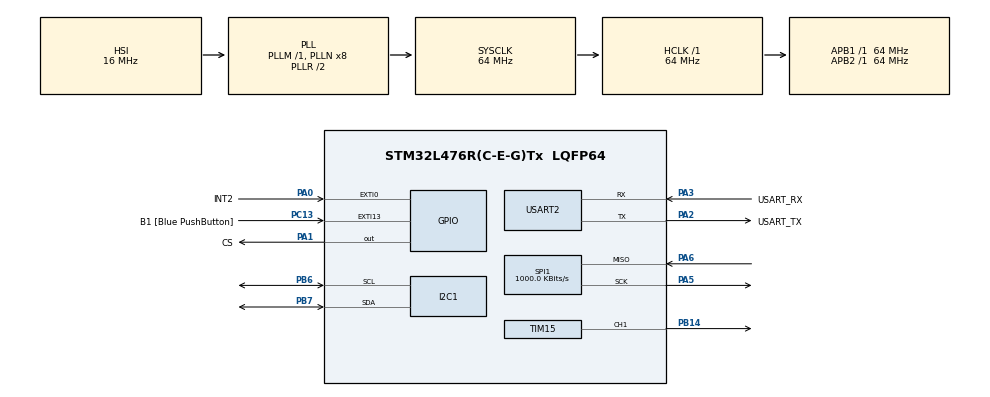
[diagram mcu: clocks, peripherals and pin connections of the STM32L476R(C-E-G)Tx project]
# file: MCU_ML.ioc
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Dma.Request0=SPI1_RX
Dma.Request1=USART2_TX
Dma.SPI1_RX.0.Direction=DMA_PERIPH_TO_MEMORY
Dma.SPI1_RX.0.Instance=DMA1_Channel2
Dma.SPI1_RX.0.MemDataAlignment=DMA_MDATAALIGN_HALFWORD
Dma.SPI1_RX.0.MemInc=DMA_MINC_ENABLE
Dma.SPI1_RX.0.Mode=DMA_NORMAL
Dma.SPI1_RX.0.PeriphDataAlignment=DMA_PDATAALIGN_HALFWORD
Dma.SPI1_RX.0.PeriphInc=DMA_PINC_DISABLE
Dma.SPI1_RX.0.Priority=DMA_PRIORITY_LOW
Dma.USART2_TX.1.Direction=DMA_MEMORY_TO_PERIPH
Dma.USART2_TX.1.Instance=DMA1_Channel7
Dma.USART2_TX.1.MemDataAlignment=DMA_MDATAALIGN_BYTE
Dma.USART2_TX.1.MemInc=DMA_MINC_ENABLE
Dma.USART2_TX.1.Mode=DMA_NORMAL
Dma.USART2_TX.1.PeriphDataAlignment=DMA_PDATAALIGN_BYTE
Dma.USART2_TX.1.PeriphInc=DMA_PINC_DISABLE
Dma.USART2_TX.1.Priority=DMA_PRIORITY_LOW
I2C1.Timing=0x10B17DB5
Mcu.Family=STM32L4
Mcu.Name=STM32L476R(C-E-G)Tx
Mcu.Package=LQFP64
NVIC.DMA1_Channel2_IRQn=true\:0\:0\:false\:false\:true\:false\:true\:true
NVIC.DMA1_Channel7_IRQn=true\:0\:0\:false\:false\:true\:false\:true\:true
NVIC.EXTI0_IRQn=true\:0\:0\:false\:false\:true\:true\:true\:true
NVIC.PriorityGroup=NVIC_PRIORITYGROUP_4
NVIC.SPI1_IRQn=true\:0\:0\:false\:false\:true\:true\:true\:true
NVIC.USART2_IRQn=true\:0\:0\:false\:false\:true\:true\:true\:true
PA0.GPIO_Label=INT2
PA0.Signal=GPXTI0
PA1.GPIO_Label=CS
PA1.Signal=GPIO_Output
PA13\ (JTMS-SWDIO).GPIO_Label=TMS
PA13\ (JTMS-SWDIO).Mode=Serial_Wire
PA13\ (JTMS-SWDIO).Signal=SYS_JTMS-SWDIO
PA14\ (JTCK-SWCLK).GPIO_Label=TCK
PA14\ (JTCK-SWCLK).Mode=Serial_Wire
PA14\ (JTCK-SWCLK).Signal=SYS_JTCK-SWCLK
PA2.GPIO_Label=USART_TX
PA2.GPIO_Mode=GPIO_MODE_AF_PP
PA2.GPIO_PuPd=GPIO_NOPULL
PA2.GPIO_Speed=GPIO_SPEED_FREQ_VERY_HIGH
PA2.Mode=Asynchronous
PA2.Signal=USART2_TX
PA3.GPIO_Label=USART_RX
PA3.GPIO_Mode=GPIO_MODE_AF_PP
PA3.GPIO_PuPd=GPIO_NOPULL
PA3.GPIO_Speed=GPIO_SPEED_FREQ_VERY_HIGH
PA3.Mode=Asynchronous
PA3.Signal=USART2_RX
PA5.Mode=RX_Only_Simplex_Unidirect_Master
PA5.Signal=SPI1_SCK
PA6.Mode=RX_Only_Simplex_Unidirect_Master
PA6.Signal=SPI1_MISO
PB14.Signal=S_TIM15_CH1
PB3\ (JTDO-TRACESWO).GPIO_Label=SWO
PB3\ (JTDO-TRACESWO).Signal=SYS_JTDO-SWO
PB6.Mode=I2C
PB6.Signal=I2C1_SCL
PB7.Mode=I2C
PB7.Signal=I2C1_SDA
PC13.GPIO_Label=B1 [Blue PushButton]
PC13.GPIO_ModeDefaultEXTI=GPIO_MODE_IT_FALLING
PC13.GPIO_PuPd=GPIO_NOPULL
PC13.Signal=GPXTI13
PC14-OSC32_IN\ (PC14).Mode=LSE-External-Oscillator
PC14-OSC32_IN\ (PC14).Signal=RCC_OSC32_IN
PC15-OSC32_OUT\ (PC15).Mode=LSE-External-Oscillator
PC15-OSC32_OUT\ (PC15).Signal=RCC_OSC32_OUT
PH0-OSC_IN\ (PH0).Signal=RCC_OSC_IN
PH1-OSC_OUT\ (PH1).Signal=RCC_OSC_OUT
ProjectManager.HeapSize=0x800
ProjectManager.StackSize=0x800
ProjectManager.TargetToolchain=STM32CubeIDE
RCC.ADCFreq_Value=64000000
RCC.AHBFreq_Value=64000000
RCC.APB1Freq_Value=64000000
RCC.APB1TimFreq_Value=64000000
RCC.APB2Freq_Value=64000000
RCC.APB2TimFreq_Value=64000000
RCC.CortexFreq_Value=64000000
RCC.HCLKFreq_Value=64000000
RCC.HSE_VALUE=8000000
RCC.HSI_VALUE=16000000
RCC.MSI_VALUE=4000000
RCC.PLLSourceVirtual=RCC_PLLSOURCE_HSI
RCC.PREFETCH_ENABLE=1
RCC.SYSCLKFreq_VALUE=64000000
RCC.SYSCLKSource=RCC_SYSCLKSOURCE_PLLCLK
RCC.USBFreq_Value=64000000
RCC.VCOOutputFreq_Value=128000000
SH.S_TIM15_CH1.0=TIM15_CH1,PWM Generation1 CH1
SPI1.BaudRatePrescaler=SPI_BAUDRATEPRESCALER_64
SPI1.CLKPhase=SPI_PHASE_1EDGE
SPI1.CLKPolarity=SPI_POLARITY_HIGH
SPI1.CalculateBaudRate=1000.0 KBits/s
SPI1.DataSize=SPI_DATASIZE_16BIT
SPI1.Direction=SPI_DIRECTION_2LINES_RXONLY
SPI1.FirstBit=SPI_FIRSTBIT_LSB
SPI1.Mode=SPI_MODE_MASTER
SPI1.VirtualType=VM_MASTER
STMicroelectronics.X-CUBE-AI.10.2.0.ActivationBufferSizeList=4368
STMicroelectronics.X-CUBE-AI.10.2.0.ActivationBuffers=pool0
STMicroelectronics.X-CUBE-AI.10.2.0.ActivationNames=pool0
STMicroelectronics.X-CUBE-AI.10.2.0.ActivationSizes=AI_NETWORK_DATA_ACTIVATION_1_SIZE
STMicroelectronics.X-CUBE-AI.10.2.0.ApplicationCcDeviceJjApplication=SystemPerformance
STMicroelectronics.X-CUBE-AI.10.2.0.BSP.number=1
STMicroelectronics.X-CUBE-AI.10.2.0.HeapSize=0x800
STMicroelectronics.X-CUBE-AI.10.2.0.InternalRamActivationBufferMaxSize=AI_NETWORK_DATA_ACTIVATIONS_SIZE
STMicroelectronics.X-CUBE-AI.10.2.0.LatestDirectoryUsed-ef7b917f1262b7114e091f9efaad28ba48847193b124a9248ebb9550d7188a26=C\:\\Users\\User\\Downloads
STMicroelectronics.X-CUBE-AI.10.2.0.MaximumNumberOfInputLayer=1
STMicroelectronics.X-CUBE-AI.10.2.0.MaximumNumberOfOutputLayer=1
STMicroelectronics.X-CUBE-AI.10.2.0.MaximumSizeOfInputLayer=1
STMicroelectronics.X-CUBE-AI.10.2.0.MaximumSizeOfOutputLayer=1
STMicroelectronics.X-CUBE-AI.10.2.0.ModelActualCompression-ef7b917f1262b7114e091f9efaad28ba48847193b124a9248ebb9550d7188a26=0.0
STMicroelectronics.X-CUBE-AI.10.2.0.ModelCompression-ef7b917f1262b7114e091f9efaad28ba48847193b124a9248ebb9550d7188a26=None
STMicroelectronics.X-CUBE-AI.10.2.0.ModelFlashOccupation-ef7b917f1262b7114e091f9efaad28ba48847193b124a9248ebb9550d7188a26=144780
STMicroelectronics.X-CUBE-AI.10.2.0.ModelHashList=ef7b917f1262b7114e091f9efaad28ba48847193b124a9248ebb9550d7188a26
STMicroelectronics.X-CUBE-AI.10.2.0.ModelKind-ef7b917f1262b7114e091f9efaad28ba48847193b124a9248ebb9550d7188a26=TFLITE
STMicroelectronics.X-CUBE-AI.10.2.0.ModelMacc-ef7b917f1262b7114e091f9efaad28ba48847193b124a9248ebb9550d7188a26=34160
STMicroelectronics.X-CUBE-AI.10.2.0.ModelName-ef7b917f1262b7114e091f9efaad28ba48847193b124a9248ebb9550d7188a26=network
STMicroelectronics.X-CUBE-AI.10.2.0.ModelNameList=network
STMicroelectronics.X-CUBE-AI.10.2.0.ModelRamOccupation-ef7b917f1262b7114e091f9efaad28ba48847193b124a9248ebb9550d7188a26=4368
STMicroelectronics.X-CUBE-AI.10.2.0.ModelStructureFile-ef7b917f1262b7114e091f9efaad28ba48847193b124a9248ebb9550d7188a26=C\:\\Users\\User\\Downloads\\fan_model (10).tflite
STMicroelectronics.X-CUBE-AI.10.2.0.ModelType-ef7b917f1262b7114e091f9efaad28ba48847193b124a9248ebb9550d7188a26=STM32Cube.AI MCU runtime
STMicroelectronics.X-CUBE-AI.10.2.0.ReadyForCodeGeneration=true
STMicroelectronics.X-CUBE-AI.10.2.0.StackSize=0x800
STMicroelectronics.X-CUBE-AI.10.2.0.WorkingBufferStartAddrList=0xFFFFFFFF
STMicroelectronics.X-CUBE-AI.10.2.0.XAaCUBEAaAICcArtificialOoIntelligenceJjCore=true
STMicroelectronics.X-CUBE-AI.10.2.0.copyWeightToRam=false
STMicroelectronics.X-CUBE-AI.10.2.0.copyWeightToRam-ef7b917f1262b7114e091f9efaad28ba48847193b124a9248ebb9550d7188a26=false
STMicroelectronics.X-CUBE-AI.10.2.0.customLayerConfigEnabled=false
STMicroelectronics.X-CUBE-AI.10.2.0.customLayerConfigEnabled-ef7b917f1262b7114e091f9efaad28ba48847193b124a9248ebb9550d7188a26=false
STMicroelectronics.X-CUBE-AI.10.2.0.noOnnxIoTranspose=false
STMicroelectronics.X-CUBE-AI.10.2.0.noOnnxIoTranspose-ef7b917f1262b7114e091f9efaad28ba48847193b124a9248ebb9550d7188a26=false
STMicroelectronics.X-CUBE-AI.10.2.0.useInputAllocation=true
STMicroelectronics.X-CUBE-AI.10.2.0.useInputAllocation-ef7b917f1262b7114e091f9efaad28ba48847193b124a9248ebb9550d7188a26=true
STMicroelectronics.X-CUBE-AI.10.2.0.useOutputAllocation=true
STMicroelectronics.X-CUBE-AI.10.2.0.useOutputAllocation-ef7b917f1262b7114e091f9efaad28ba48847193b124a9248ebb9550d7188a26=true
STMicroelectronics.X-CUBE-AI.10.2.00.BSP.STBoard=false
STMicroelectronics.X-CUBE-AI.10.2.00.BSP.api=Unknown
STMicroelectronics.X-CUBE-AI.10.2.00.BSP.condition=\!SEMDeviceJjApplicationJjApplicationTemplate
STMicroelectronics.X-CUBE-AI.10.2.00.BSP.instance=USART2
STMicroelectronics.X-CUBE-AI.10.2.00.BSP.ip=USART
STMicroelectronics.X-CUBE-AI.10.2.00.BSP.mode=Asynchronous
STMicroelectronics.X-CUBE-AI.10.2.00.BSP.name=COM Port
STMicroelectronics.X-CUBE-AI.10.2.00.BSP.solution=USART2
TIM15.Channel-PWM\ Generation1\ CH1=TIM_CHANNEL_1
TIM15.Period=63
TIM15.Pulse-PWM\ Generation1\ CH1=32
USART2.VirtualMode-Asynchronous=VM_ASYNC
VP_CRC_VS_CRC.Mode=CRC_Activate
VP_STMicroelectronics.X-CUBE-AI_VS_ArtificialOoIntelligenceJjXAaCUBEAaAI_10.2.0.Mode=ArtificialOoIntelligenceJjXAaCUBEAaAI
VP_STMicroelectronics.X-CUBE-AI_VS_DeviceJjApplication_10.2.0.Mode=DeviceJjApplication
VP_TIM15_VS_ClockSourceINT.Mode=Internal
board=NUCLEO-L476RG

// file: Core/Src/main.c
/* USER CODE BEGIN Header */
/**
  ******************************************************************************
  * @file           : main.c
  * @brief          : Main program body
  ******************************************************************************
  * @attention
  *
  * Copyright (c) 2026 STMicroelectronics.
  * All rights reserved.
  *
  * This software is licensed under terms that can be found in the LICENSE file
  * in the root directory of this software component.
  * If no LICENSE file comes with this software, it is provided AS-IS.
  *
  ******************************************************************************
  */
/* USER CODE END Header */
#include "main.h"

/* USER CODE BEGIN Includes */
#include "arm_math.h"
#include <stdint.h>
#include <stdbool.h>
#include <stdio.h>
#include "network.h"
#include "network_data.h"
/* USER CODE END Includes */

/* USER CODE BEGIN PM */
// 1602 I2C address
#define I2C_ADDR 0x27 // I2C address of the PCF8574
// 1602 dimensions
#define LCD_ROWS 2 // Number of rows on the LCD
#define LCD_COLS 16 // Number of columns on the LCD
// 1602 message bit numbers
#define DC_BIT 0 // Data/Command bit (register select bit)
#define EN_BIT 2 // Enable bit
#define BL_BIT 3 // Backlight bit
#define D4_BIT 4 // Data 4 bit
#define D5_BIT 5 // Data 5 bit
#define D6_BIT 6 // Data 6 bit
#define D7_BIT 7 // Data 7 bit
/* USER CODE END PM */

CRC_HandleTypeDef hcrc;

I2C_HandleTypeDef hi2c1;

SPI_HandleTypeDef hspi1;
DMA_HandleTypeDef hdma_spi1_rx;

TIM_HandleTypeDef htim15;

UART_HandleTypeDef huart2;
DMA_HandleTypeDef hdma_usart2_tx;

/* USER CODE BEGIN PV */
ai_u8 activations[AI_NETWORK_DATA_ACTIVATIONS_SIZE];
ai_handle network;
ai_buffer ai_input[AI_NETWORK_IN_NUM];
ai_buffer ai_output[AI_NETWORK_OUT_NUM];
float most_likely;
int status;
//arm_cfft_instance_q31 fft_instance;
q15_t fft_buffer[2048];
q15_t magnitude_buffer[1024];
volatile bool window_ready = false;
uint8_t sync_header[2];
uint8_t sync_footer[2];
float ai_data[512];
float ai_outputs[3];
extern const arm_cfft_instance_q15 arm_cfft_sR_q15_len1024;
char confidence[16];
/* USER CODE END PV */

void SystemClock_Config(void);
static void MX_GPIO_Init(void);
static void MX_DMA_Init(void);
static void MX_USART2_UART_Init(void);
static void MX_SPI1_Init(void);
static void MX_I2C1_Init(void);
static void MX_TIM15_Init(void);
static void MX_CRC_Init(void);
/* USER CODE BEGIN PFP */
void CharLCD_Write_Nibble (uint8_t nibble, uint8_t dc);
void CharLCD_Send_Cmd(uint8_t cmd);
void CharLCD_Send_Data(uint8_t data);
void CharLCD_Init();
void CharLCD_Write_String(char *str);
void CharLCD_Set_Cursor(uint8_t row, uint8_t column);
void CharLCD_Clear(void);
/* USER CODE END PFP */

int main(void)
{

  /* MCU Configuration--------------------------------------------------------*/

  /* Reset of all peripherals, Initializes the Flash interface and the Systick. */
  HAL_Init();

  /* Configure the system clock */
  SystemClock_Config();

  /* Initialize all configured peripherals */
  MX_GPIO_Init();
  MX_DMA_Init();
  MX_USART2_UART_Init();
  MX_SPI1_Init();
  MX_I2C1_Init();
  MX_TIM15_Init();
  MX_CRC_Init();
  /* USER CODE BEGIN 2 */
  HAL_GPIO_WritePin(GPIOA, GPIO_PIN_1, 1);
  window_ready = false;
  sync_header[0] = 0xAA;
  sync_header[1] = 0xBB;
  sync_footer[0] = 0xCC;
  sync_footer[1] = 0xDD;
  HAL_TIM_PWM_Start(&htim15, TIM_CHANNEL_1);
  CharLCD_Init(); // Initialize the LCD

  ai_network_create(&network, AI_NETWORK_DATA_CONFIG);
  ai_network_params params = AI_NETWORK_PARAMS_INIT(
        AI_NETWORK_DATA_WEIGHTS(ai_network_data_weights_get()),
        AI_NETWORK_DATA_ACTIVATIONS(activations)
    );
  ai_network_init(network, &params);
  ai_input[0] = ai_network_inputs_get(network, NULL)[0];
    ai_output[0] = ai_network_outputs_get(network, NULL)[0];

    ai_input[0].data = AI_HANDLE_PTR(ai_data);
    ai_output[0].data = AI_HANDLE_PTR(ai_outputs);
  /* USER CODE END 2 */

  /* Infinite loop */
  while (1)
  {

    /* USER CODE BEGIN 3 */

	  /*
	   * if (transfer_done)
	   * 	start_fft
	   *	get_magnitudes
	   *	NON-BLOCKING UART DMA
	   * 	(later) get inference
	   *
	   *
	   * */
	  if(window_ready){ // runs after SPI transaction finished
		  arm_cfft_q15(&arm_cfft_sR_q15_len1024, fft_buffer, 0, 1); // Compute FFT
		  arm_cmplx_mag_q15(fft_buffer, magnitude_buffer, 1024); // Compute Complex Mag
		  HAL_UART_Transmit(&huart2, sync_header, 2, 100);
		  HAL_UART_Transmit_DMA(&huart2, (uint8_t*)magnitude_buffer, 1024); // send the data over UART
		  for(int i=0; i<512; i++){
			  ai_data[i]=(float)magnitude_buffer[i]; // Convert ints to floats for AI stuff
		  }
		  ai_network_run(network, &ai_input[0], &ai_output[0]); // make an AI infrence
		  most_likely = -1;
		  status = -1;
		  for(int i = 0; i<3; i++){ // find what state is most likely
			  if(ai_outputs[i] > most_likely) {
				  most_likely = ai_outputs[i];
				  status = i;
			  }
		  }
		  //create a string of the confidence value
		  snprintf(confidence, sizeof(confidence), "Conf: %.1f%%", (100.0f*most_likely));
		  CharLCD_Clear(); // clear the LCD
		  switch(status){
		  case 0:
		   CharLCD_Set_Cursor(0,0); // Set cursor to row 0, column 0
		   CharLCD_Write_String("Fan OFF");
		   CharLCD_Set_Cursor(1,0); // Set cursor to row 1, column 0
		   CharLCD_Write_String(confidence);
			  break;
		  case 1:
			   CharLCD_Set_Cursor(0,0); // Set cursor to row 0, column 0
			   CharLCD_Write_String("Fan BALANCED");
			   CharLCD_Set_Cursor(1,0); // Set cursor to row 1, column 0
			   CharLCD_Write_String(confidence);
			  break;
		  case 2:
			   CharLCD_Set_Cursor(0,0); // Set cursor to row 0, column 0
			   CharLCD_Write_String("Fan UNBALANCED");
			   CharLCD_Set_Cursor(1,0); // Set cursor to row 1, column 0
			   CharLCD_Write_String(confidence);
			  break;
		  default:
			   CharLCD_Set_Cursor(0,0); // Set cursor to row 0, column 0
			   CharLCD_Write_String("ERROR!!");
			   CharLCD_Set_Cursor(1,0); // Set cursor to row 1, column 0
			   CharLCD_Write_String(confidence);
			  break;
		  }
		  window_ready = false; // Set window_ready to false and wait for next packet
	  }
  }
  /* USER CODE END 3 */
}

void SystemClock_Config(void)
{
  RCC_OscInitTypeDef RCC_OscInitStruct = {0};
  RCC_ClkInitTypeDef RCC_ClkInitStruct = {0};

  /** Configure the main internal regulator output voltage
  */
  if (HAL_PWREx_ControlVoltageScaling(PWR_REGULATOR_VOLTAGE_SCALE1) != HAL_OK)
  {
    Error_Handler();
  }

  /** Initializes the RCC Oscillators according to the specified parameters
  * in the RCC_OscInitTypeDef structure.
  */
  RCC_OscInitStruct.OscillatorType = RCC_OSCILLATORTYPE_HSI;
  RCC_OscInitStruct.HSIState = RCC_HSI_ON;
  RCC_OscInitStruct.HSICalibrationValue = RCC_HSICALIBRATION_DEFAULT;
  RCC_OscInitStruct.PLL.PLLState = RCC_PLL_ON;
  RCC_OscInitStruct.PLL.PLLSource = RCC_PLLSOURCE_HSI;
  RCC_OscInitStruct.PLL.PLLM = 1;
  RCC_OscInitStruct.PLL.PLLN = 8;
  RCC_OscInitStruct.PLL.PLLP = RCC_PLLP_DIV7;
  RCC_OscInitStruct.PLL.PLLQ = RCC_PLLQ_DIV2;
  RCC_OscInitStruct.PLL.PLLR = RCC_PLLR_DIV2;
  if (HAL_RCC_OscConfig(&RCC_OscInitStruct) != HAL_OK)
  {
    Error_Handler();
  }

  /** Initializes the CPU, AHB and APB buses clocks
  */
  RCC_ClkInitStruct.ClockType = RCC_CLOCKTYPE_HCLK|RCC_CLOCKTYPE_SYSCLK
                              |RCC_CLOCKTYPE_PCLK1|RCC_CLOCKTYPE_PCLK2;
  RCC_ClkInitStruct.SYSCLKSource = RCC_SYSCLKSOURCE_PLLCLK;
  RCC_ClkInitStruct.AHBCLKDivider = RCC_SYSCLK_DIV1;
  RCC_ClkInitStruct.APB1CLKDivider = RCC_HCLK_DIV1;
  RCC_ClkInitStruct.APB2CLKDivider = RCC_HCLK_DIV1;

  if (HAL_RCC_ClockConfig(&RCC_ClkInitStruct, FLASH_LATENCY_3) != HAL_OK)
  {
    Error_Handler();
  }
}

static void MX_CRC_Init(void)
{

  hcrc.Instance = CRC;
  hcrc.Init.DefaultPolynomialUse = DEFAULT_POLYNOMIAL_ENABLE;
  hcrc.Init.DefaultInitValueUse = DEFAULT_INIT_VALUE_ENABLE;
  hcrc.Init.InputDataInversionMode = CRC_INPUTDATA_INVERSION_NONE;
  hcrc.Init.OutputDataInversionMode = CRC_OUTPUTDATA_INVERSION_DISABLE;
  hcrc.InputDataFormat = CRC_INPUTDATA_FORMAT_BYTES;
  if (HAL_CRC_Init(&hcrc) != HAL_OK)
  {
    Error_Handler();
  }

}

static void MX_I2C1_Init(void)
{

  hi2c1.Instance = I2C1;
  hi2c1.Init.Timing = 0x10B17DB5;
  hi2c1.Init.OwnAddress1 = 0;
  hi2c1.Init.AddressingMode = I2C_ADDRESSINGMODE_7BIT;
  hi2c1.Init.DualAddressMode = I2C_DUALADDRESS_DISABLE;
  hi2c1.Init.OwnAddress2 = 0;
  hi2c1.Init.OwnAddress2Masks = I2C_OA2_NOMASK;
  hi2c1.Init.GeneralCallMode = I2C_GENERALCALL_DISABLE;
  hi2c1.Init.NoStretchMode = I2C_NOSTRETCH_DISABLE;
  if (HAL_I2C_Init(&hi2c1) != HAL_OK)
  {
    Error_Handler();
  }

  /** Configure Analogue filter
  */
  if (HAL_I2CEx_ConfigAnalogFilter(&hi2c1, I2C_ANALOGFILTER_ENABLE) != HAL_OK)
  {
    Error_Handler();
  }

  /** Configure Digital filter
  */
  if (HAL_I2CEx_ConfigDigitalFilter(&hi2c1, 0) != HAL_OK)
  {
    Error_Handler();
  }

}

static void MX_SPI1_Init(void)
{

  /* SPI1 parameter configuration*/
  hspi1.Instance = SPI1;
  hspi1.Init.Mode = SPI_MODE_MASTER;
  hspi1.Init.Direction = SPI_DIRECTION_2LINES_RXONLY;
  hspi1.Init.DataSize = SPI_DATASIZE_16BIT;
  hspi1.Init.CLKPolarity = SPI_POLARITY_HIGH;
  hspi1.Init.CLKPhase = SPI_PHASE_1EDGE;
  hspi1.Init.NSS = SPI_NSS_SOFT;
  hspi1.Init.BaudRatePrescaler = SPI_BAUDRATEPRESCALER_64;
  hspi1.Init.FirstBit = SPI_FIRSTBIT_LSB;
  hspi1.Init.TIMode = SPI_TIMODE_DISABLE;
  hspi1.Init.CRCCalculation = SPI_CRCCALCULATION_DISABLE;
  hspi1.Init.CRCPolynomial = 7;
  hspi1.Init.CRCLength = SPI_CRC_LENGTH_DATASIZE;
  hspi1.Init.NSSPMode = SPI_NSS_PULSE_ENABLE;
  if (HAL_SPI_Init(&hspi1) != HAL_OK)
  {
    Error_Handler();
  }

}

static void MX_TIM15_Init(void)
{

  TIM_ClockConfigTypeDef sClockSourceConfig = {0};
  TIM_MasterConfigTypeDef sMasterConfig = {0};
  TIM_OC_InitTypeDef sConfigOC = {0};
  TIM_BreakDeadTimeConfigTypeDef sBreakDeadTimeConfig = {0};

  htim15.Instance = TIM15;
  htim15.Init.Prescaler = 0;
  htim15.Init.CounterMode = TIM_COUNTERMODE_UP;
  htim15.Init.Period = 63;
  htim15.Init.ClockDivision = TIM_CLOCKDIVISION_DIV1;
  htim15.Init.RepetitionCounter = 0;
  htim15.Init.AutoReloadPreload = TIM_AUTORELOAD_PRELOAD_DISABLE;
  if (HAL_TIM_Base_Init(&htim15) != HAL_OK)
  {
    Error_Handler();
  }
  sClockSourceConfig.ClockSource = TIM_CLOCKSOURCE_INTERNAL;
  if (HAL_TIM_ConfigClockSource(&htim15, &sClockSourceConfig) != HAL_OK)
  {
    Error_Handler();
  }
  if (HAL_TIM_PWM_Init(&htim15) != HAL_OK)
  {
    Error_Handler();
  }
  sMasterConfig.MasterOutputTrigger = TIM_TRGO_RESET;
  sMasterConfig.MasterSlaveMode = TIM_MASTERSLAVEMODE_DISABLE;
  if (HAL_TIMEx_MasterConfigSynchronization(&htim15, &sMasterConfig) != HAL_OK)
  {
    Error_Handler();
  }
  sConfigOC.OCMode = TIM_OCMODE_PWM1;
  sConfigOC.Pulse = 32;
  sConfigOC.OCPolarity = TIM_OCPOLARITY_HIGH;
  sConfigOC.OCNPolarity = TIM_OCNPOLARITY_HIGH;
  sConfigOC.OCFastMode = TIM_OCFAST_DISABLE;
  sConfigOC.OCIdleState = TIM_OCIDLESTATE_RESET;
  sConfigOC.OCNIdleState = TIM_OCNIDLESTATE_RESET;
  if (HAL_TIM_PWM_ConfigChannel(&htim15, &sConfigOC, TIM_CHANNEL_1) != HAL_OK)
  {
    Error_Handler();
  }
  sBreakDeadTimeConfig.OffStateRunMode = TIM_OSSR_DISABLE;
  sBreakDeadTimeConfig.OffStateIDLEMode = TIM_OSSI_DISABLE;
  sBreakDeadTimeConfig.LockLevel = TIM_LOCKLEVEL_OFF;
  sBreakDeadTimeConfig.DeadTime = 0;
  sBreakDeadTimeConfig.BreakState = TIM_BREAK_DISABLE;
  sBreakDeadTimeConfig.BreakPolarity = TIM_BREAKPOLARITY_HIGH;
  sBreakDeadTimeConfig.AutomaticOutput = TIM_AUTOMATICOUTPUT_DISABLE;
  if (HAL_TIMEx_ConfigBreakDeadTime(&htim15, &sBreakDeadTimeConfig) != HAL_OK)
  {
    Error_Handler();
  }
  HAL_TIM_MspPostInit(&htim15);

}

static void MX_USART2_UART_Init(void)
{

  huart2.Instance = USART2;
  huart2.Init.BaudRate = 115200;
  huart2.Init.WordLength = UART_WORDLENGTH_8B;
  huart2.Init.StopBits = UART_STOPBITS_1;
  huart2.Init.Parity = UART_PARITY_NONE;
  huart2.Init.Mode = UART_MODE_TX_RX;
  huart2.Init.HwFlowCtl = UART_HWCONTROL_NONE;
  huart2.Init.OverSampling = UART_OVERSAMPLING_16;
  huart2.Init.OneBitSampling = UART_ONE_BIT_SAMPLE_DISABLE;
  huart2.AdvancedInit.AdvFeatureInit = UART_ADVFEATURE_NO_INIT;
  if (HAL_UART_Init(&huart2) != HAL_OK)
  {
    Error_Handler();
  }

}

static void MX_DMA_Init(void)
{

  /* DMA controller clock enable */
  __HAL_RCC_DMA1_CLK_ENABLE();

  /* DMA interrupt init */
  /* DMA1_Channel2_IRQn interrupt configuration */
  HAL_NVIC_SetPriority(DMA1_Channel2_IRQn, 0, 0);
  HAL_NVIC_EnableIRQ(DMA1_Channel2_IRQn);
  /* DMA1_Channel7_IRQn interrupt configuration */
  HAL_NVIC_SetPriority(DMA1_Channel7_IRQn, 0, 0);
  HAL_NVIC_EnableIRQ(DMA1_Channel7_IRQn);

}

static void MX_GPIO_Init(void)
{
  GPIO_InitTypeDef GPIO_InitStruct = {0};

  /* GPIO Ports Clock Enable */
  __HAL_RCC_GPIOC_CLK_ENABLE();
  __HAL_RCC_GPIOH_CLK_ENABLE();
  __HAL_RCC_GPIOA_CLK_ENABLE();
  __HAL_RCC_GPIOB_CLK_ENABLE();

  /*Configure GPIO pin Output Level */
  HAL_GPIO_WritePin(CS_GPIO_Port, CS_Pin, GPIO_PIN_RESET);

  /*Configure GPIO pin : B1_Pin */
  GPIO_InitStruct.Pin = B1_Pin;
  GPIO_InitStruct.Mode = GPIO_MODE_IT_FALLING;
  GPIO_InitStruct.Pull = GPIO_NOPULL;
  HAL_GPIO_Init(B1_GPIO_Port, &GPIO_InitStruct);

  /*Configure GPIO pin : INT2_Pin */
  GPIO_InitStruct.Pin = INT2_Pin;
  GPIO_InitStruct.Mode = GPIO_MODE_IT_RISING;
  GPIO_InitStruct.Pull = GPIO_NOPULL;
  HAL_GPIO_Init(INT2_GPIO_Port, &GPIO_InitStruct);

  /*Configure GPIO pin : CS_Pin */
  GPIO_InitStruct.Pin = CS_Pin;
  GPIO_InitStruct.Mode = GPIO_MODE_OUTPUT_PP;
  GPIO_InitStruct.Pull = GPIO_NOPULL;
  GPIO_InitStruct.Speed = GPIO_SPEED_FREQ_LOW;
  HAL_GPIO_Init(CS_GPIO_Port, &GPIO_InitStruct);

  /* EXTI interrupt init*/
  HAL_NVIC_SetPriority(EXTI0_IRQn, 0, 0);
  HAL_NVIC_EnableIRQ(EXTI0_IRQn);

}

/* USER CODE BEGIN 4 */
void HAL_UART_TxCpltCallback(UART_HandleTypeDef *huart)
{
  /* Check if this callback was triggered by the specific UART we care about */
  if (huart->Instance == USART2)
  {
	  HAL_UART_Transmit(&huart2, sync_footer, 2, 100);
  }
}

void HAL_GPIO_EXTI_Callback(uint16_t GPIO_Pin)
{
    if(GPIO_Pin == GPIO_PIN_0) // If we received a data ready interrupt
    {
    HAL_GPIO_WritePin(GPIOA, GPIO_PIN_1, 0);
    HAL_SPI_Receive_DMA(&hspi1, (uint8_t*)fft_buffer, 2048);
    }
}

void HAL_SPI_RxCpltCallback(SPI_HandleTypeDef *hspi)
{
    if (hspi->Instance == SPI1)
    {
    	HAL_GPIO_WritePin(GPIOA, GPIO_PIN_1, 1);
        window_ready = true;
    }
}

void CharLCD_Write_Nibble(uint8_t nibble, uint8_t dc) {
 uint8_t data = nibble << D4_BIT; // Shift nibble to D4-D7 position
 data |= dc << DC_BIT; // Set DC bit for data/command selection
 data |= 1 << BL_BIT; // Include backlight state in data
 data |= 1 << EN_BIT; // Set enable bit high
 HAL_I2C_Master_Transmit(&hi2c1, I2C_ADDR << 1, &data, 1, 100); // Send data with EN high
 HAL_Delay(1); // Wait for data setup
 data &= ~(1 << EN_BIT); // Clear enable bit (falling edge triggers LCD)
 HAL_I2C_Master_Transmit(&hi2c1, I2C_ADDR << 1, &data, 1, 100); // Send data with EN low
}
/**
 * @brief Send command to LCD
 * @param cmd: 8-bit command to send to LCD controller
 * @retval None
 */
void CharLCD_Send_Cmd(uint8_t cmd) {
 uint8_t upper_nibble = cmd >> 4; // Extract upper 4 bits
 uint8_t lower_nibble = cmd & 0x0F; // Extract lower 4 bits
 CharLCD_Write_Nibble(upper_nibble, 0); // Send upper nibble (DC=0 for command)
 CharLCD_Write_Nibble(lower_nibble, 0); // Send lower nibble (DC=0 for command)
 if (cmd == 0x01 || cmd == 0x02) { // Clear display or return home commands
 HAL_Delay(2); // These commands need extra time
 }
}
/**
 * @brief Send data (character) to LCD
 * @param data: 8-bit character data to display
 * @retval None
 */
void CharLCD_Send_Data(uint8_t data) {
 uint8_t upper_nibble = data >> 4; // Extract upper 4 bits
 uint8_t lower_nibble = data & 0x0F; // Extract lower 4 bits
 CharLCD_Write_Nibble(upper_nibble, 1); // Send upper nibble (DC=1 for data)
 CharLCD_Write_Nibble(lower_nibble, 1); // Send lower nibble (DC=1 for data)
}
/**
 * @brief Initialize LCD in 4-bit mode via I2C
 * @param None
 * @retval None
 */
void CharLCD_Init() {
 HAL_Delay(50); // Wait for LCD power-on reset (>40ms)
 CharLCD_Write_Nibble(0x03, 0); // Function set: 8-bit mode (first attempt)
 HAL_Delay(5); // Wait >4.1ms
 CharLCD_Write_Nibble(0x03, 0); // Function set: 8-bit mode (second attempt)
 HAL_Delay(1); // Wait >100us
 CharLCD_Write_Nibble(0x03, 0); // Function set: 8-bit mode (third attempt)
 HAL_Delay(1); // Wait >100us
 CharLCD_Write_Nibble(0x02, 0); // Function set: switch to 4-bit mode
 CharLCD_Send_Cmd(0x28); // Function set: 4-bit, 2 lines, 5x8 font
 CharLCD_Send_Cmd(0x0C); // Display control: display on/cursor off/blink off
 CharLCD_Send_Cmd(0x06); // Entry mode: increment cursor, no shift
 CharLCD_Send_Cmd(0x01); // Clear display
 HAL_Delay(2); // Wait for clear display command
}
/**
 * @brief Write string to LCD at current cursor position
 * @param str: Pointer to null-terminated string
 * @retval None
 */
void CharLCD_Write_String(char *str) {
 while (*str) { // Loop until null terminator
 CharLCD_Send_Data(*str++); // Send each character and increment pointer
 }
}
/**
 * @brief Set cursor position on LCD
 * @param row: Row number (0 or 1 for 2-line display)
 * @param column: Column number (0 to display width - 1)
 * @retval None
 */
void CharLCD_Set_Cursor(uint8_t row, uint8_t column) {
 uint8_t address;
 switch (row) {
 case 0:
 address = 0x00; break; // First line starts at address 0x00
 case 1:
 address = 0x40; break; // Second line starts at address 0x40
 default:
 address = 0x00; // Default to first line for invalid row
 }
 address += column; // Add column offset
 CharLCD_Send_Cmd(0x80 | address); // Set DDRAM address command (0x80 + address)
}
/**
 * @brief Clear LCD display and return cursor to home position
 * @param None
 * @retval None
 */
void CharLCD_Clear(void) {
 CharLCD_Send_Cmd(0x01); // Clear display command
 HAL_Delay(2); // Wait for command execution
}
/* USER CODE END 4 */

void Error_Handler(void)
{
  __disable_irq();
  while (1)
  {
  }
}
